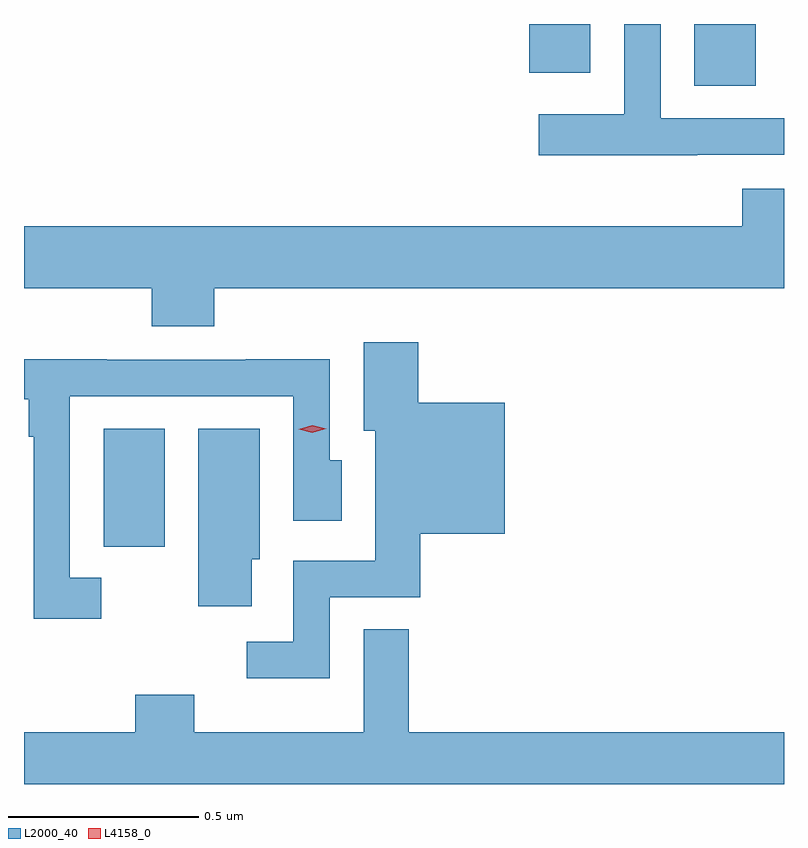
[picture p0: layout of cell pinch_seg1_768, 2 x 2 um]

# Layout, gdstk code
import gdstk
lib = gdstk.Library(unit=1e-6, precision=1e-09)
def R(c, l, rs):  # rectangles x0, y0, x1, y1
    for r in rs: c.add(gdstk.rectangle(r[:2], r[2:], *l))
def P(c, l, *ps):  # polygons
    for p in ps: c.add(gdstk.Polygon(p, *l))
L2000_40 = (2000, 40)
L4158_0 = (4158, 0)

pinch_seg1_768 = lib.new_cell('pinch_seg1_768')
R(pinch_seg1_768, L2000_40, [(867.965,531.072,868.126,531.383), (869.519,532.285,869.68,532.448), (869.084,532.32,869.245,532.448)])
P(pinch_seg1_768, L2000_40, [(869.527,532.104),(869.755,532.104),(869.755,532.2),(869.43,532.2),(869.43,532.448),(869.334,532.448),(869.334,532.21),(869.109,532.21),(869.109,532.103),(869.527,532.103)],
  [(868.256,531.752),(869.755,531.752),(869.755,532.015),(869.645,532.015),(869.645,531.916),(867.755,531.916),(867.755,531.752),(868.091,531.752),(868.091,531.653),(868.256,531.653)],
  [(868.56,530.94),(868.798,530.94),(868.798,531.107),(869.02,531.107),(869.02,531.451),(868.793,531.451),(868.793,531.61),(868.649,531.61),(868.649,531.377),(868.679,531.377),(868.679,531.036),(868.464,531.036),(868.464,530.823),(868.341,530.823),(868.341,530.726),(868.56,530.726)],
  [(867.958,530.991),(867.876,530.991),(867.876,531.468),(868.464,531.468),(868.464,531.141),(868.591,531.141),(868.591,531.3),(868.56,531.3),(868.56,531.566),(868.339,531.566),(868.339,531.564),(867.973,531.564),(867.973,531.566),(867.755,531.566),(867.755,531.46),(867.768,531.46),(867.768,531.362),(867.78,531.362),(867.78,530.883),(867.958,530.883)],
  [(868.354,531.039),(868.375,531.039),(868.375,531.383),(868.214,531.383),(868.214,530.916),(868.354,530.916)],
  [(869.755,530.584),(868.768,530.584),(868.768,530.855),(868.649,530.855),(868.649,530.584),(868.203,530.584),(868.203,530.683),(868.048,530.683),(868.048,530.584),(867.755,530.584),(867.755,530.448),(869.755,530.448)])
P(pinch_seg1_768, L4158_0, [(868.514,531.372),(868.478,531.381),(868.478,531.382),(868.478,531.382),(868.514,531.392),(868.55,531.383),(868.55,531.383),(868.55,531.383)])

lib.write_gds('pinch_seg1_768.gds')
